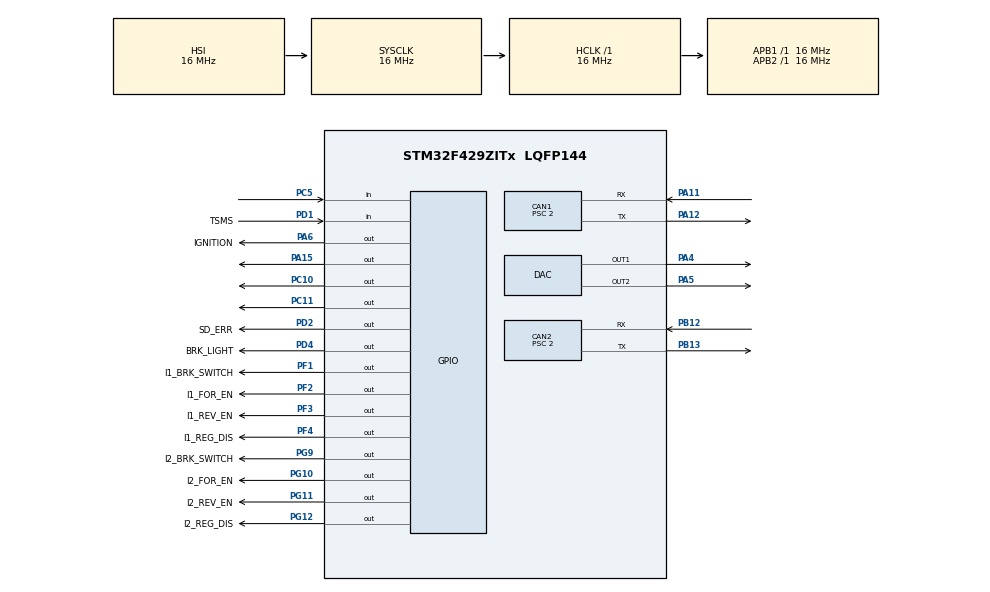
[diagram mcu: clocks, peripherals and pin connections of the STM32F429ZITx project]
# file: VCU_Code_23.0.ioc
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CAN1.BS1=CAN_BS1_11TQ
CAN1.BS2=CAN_BS2_4TQ
CAN1.CalculateBaudRate=500000
CAN1.CalculateTimeBit=2000
CAN1.CalculateTimeQuantum=125.0
CAN1.NART=ENABLE
CAN1.Prescaler=2
CAN2.BS1=CAN_BS1_11TQ
CAN2.BS2=CAN_BS2_4TQ
CAN2.CalculateBaudRate=500000
CAN2.CalculateTimeBit=2000
CAN2.CalculateTimeQuantum=125.0
CAN2.NART=ENABLE
CAN2.Prescaler=2
Mcu.Family=STM32F4
Mcu.Name=STM32F429ZITx
Mcu.Package=LQFP144
NVIC.CAN1_RX0_IRQn=true\:0\:0\:false\:false\:true\:true\:true\:true
NVIC.CAN1_RX1_IRQn=true\:0\:0\:false\:false\:true\:true\:true\:true
NVIC.CAN2_RX0_IRQn=true\:0\:0\:false\:false\:true\:true\:true\:true
NVIC.CAN2_RX1_IRQn=true\:0\:0\:false\:false\:true\:true\:true\:true
NVIC.PriorityGroup=NVIC_PRIORITYGROUP_4
PA11.Mode=CAN_Activate
PA11.Signal=CAN1_RX
PA12.Mode=CAN_Activate
PA12.Signal=CAN1_TX
PA15.Signal=GPIO_Output
PA4.Signal=COMP_DAC1_group
PA5.Signal=COMP_DAC2_group
PA6.GPIO_Label=IGNITION
PA6.Signal=GPIO_Output
PB12.Mode=CAN_Activate
PB12.Signal=CAN2_RX
PB13.Mode=CAN_Activate
PB13.Signal=CAN2_TX
PC10.Signal=GPIO_Output
PC11.Signal=GPIO_Output
PC5.Signal=GPIO_Input
PD1.GPIO_Label=TSMS
PD1.GPIO_PuPd=GPIO_PULLDOWN
PD1.Signal=GPIO_Input
PD2.GPIO_Label=SD_ERR
PD2.Signal=GPIO_Output
PD4.GPIO_Label=BRK_LIGHT
PD4.Signal=GPIO_Output
PF1.GPIO_Label=I1_BRK_SWITCH
PF1.Signal=GPIO_Output
PF2.GPIO_Label=I1_FOR_EN
PF2.Signal=GPIO_Output
PF3.GPIO_Label=I1_REV_EN
PF3.Signal=GPIO_Output
PF4.GPIO_Label=I1_REG_DIS
PF4.Signal=GPIO_Output
PG10.GPIO_Label=I2_FOR_EN
PG10.Signal=GPIO_Output
PG11.GPIO_Label=I2_REV_EN
PG11.Signal=GPIO_Output
PG12.GPIO_Label=I2_REG_DIS
PG12.Signal=GPIO_Output
PG9.GPIO_Label=I2_BRK_SWITCH
PG9.Signal=GPIO_Output
ProjectManager.HeapSize=0x200
ProjectManager.StackSize=0x400
ProjectManager.TargetToolchain=STM32CubeIDE
RCC.AHBFreq_Value=16000000
RCC.APB1Freq_Value=16000000
RCC.APB2Freq_Value=16000000
RCC.CortexFreq_Value=16000000
RCC.HSE_VALUE=25000000
RCC.HSI_VALUE=16000000
RCC.LSE_VALUE=32768
RCC.SYSCLKFreq_VALUE=16000000
RCC.VCOOutputFreq_Value=192000000
SH.COMP_DAC1_group.0=DAC_OUT1,DAC_OUT1
SH.COMP_DAC2_group.0=DAC_OUT2,DAC_OUT2
board=custom

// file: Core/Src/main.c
/* USER CODE BEGIN Header */
/**
  ******************************************************************************
  * @file           : main.c
  * @brief          : Main program body
  ******************************************************************************
  * @attention
  *
  * Copyright (c) 2023 STMicroelectronics.
  * All rights reserved.
  *
  * This software is licensed under terms that can be found in the LICENSE file
  * in the root directory of this software component.
  * If no LICENSE file comes with this software, it is provided AS-IS.
  *
  ******************************************************************************
  */
/* USER CODE END Header */
#include "main.h"

CAN_HandleTypeDef hcan1;
CAN_HandleTypeDef hcan2;

DAC_HandleTypeDef hdac;

void SystemClock_Config(void);
static void MX_GPIO_Init(void);
static void MX_CAN1_Init(void);
static void MX_CAN2_Init(void);
static void MX_DAC_Init(void);
/* USER CODE BEGIN PFP */
float map(uint16_t value, uint16_t min_val, uint16_t max_val, uint16_t offset);
void  CAN_Start();
/* USER CODE END PFP */

/* USER CODE BEGIN 0 */
uint16_t adc_apps1;
uint16_t adc_apps2;
float apps1,apps2,apps_avg,torque_demand;
uint16_t range_adc_apps1[] = {710, 2160};
uint16_t range_adc_apps2[] = {1405, 3870};
uint16_t brk_avg;
uint16_t adc_stear_sens;
uint8_t rtds;
uint8_t tsms;
uint8_t tc;
uint8_t tv;
uint16_t brk_light_thres=430;
uint8_t RxData[8];
uint16_t RxData1[4];
uint8_t RxData2[8];
uint32_t id;
uint8_t rxdata[8];
uint8_t clearfault_left=0,clearfault_right=0;
uint8_t left_inv_transmit[8];
uint8_t right_inv_transmit[8];
uint16_t torque_limit=30;
float temp_app;
uint8_t imp;
uint16_t a=0,b=0;
/* USER CODE END 0 */

int main(void)
{

  /* MCU Configuration--------------------------------------------------------*/

  /* Reset of all peripherals, Initializes the Flash interface and the Systick. */
+  HAL_Init();

  /* Configure the system clock */
  SystemClock_Config();

  /* Initialize all configured peripherals */
  MX_GPIO_Init();
  MX_CAN1_Init();
  MX_CAN2_Init();
  MX_DAC_Init();
  /* USER CODE BEGIN 2 */
  HAL_GPIO_WritePin(GPIOA, IGNITION_Pin,GPIO_PIN_SET);
  HAL_GPIO_WritePin(GPIOD, SD_ERR_Pin,GPIO_PIN_SET);
  //HAL_GPIO_WritePin(GPIOD, BRK_LIGHT_Pin, GPIO_PIN_SET);
  CAN_Start();
  //HAL_GPIO_TogglePin(GPIOC, GPIO_PIN_11);

  /* USER CODE END 2 */

  /* Infinite loop */
  while (1)
  {

    /* USER CODE BEGIN 3 */
//	  apps1=(((float)(adc_apps1 - range_adc_apps1[0])) / ((float)(range_adc_apps1[1]- range_adc_apps1[0])))*100.00;
//	  apps2=(((float)(adc_apps2 - range_adc_apps2[0])) / ((float)(range_adc_apps2[1]- range_adc_apps2[0])))*100.00;
////	  apps1 = map(adc_apps1, range_adc_apps1[0], range_adc_apps1[1],0);
////	  apps2 = map(adc_apps2, range_adc_apps2[0], range_adc_apps2[1],0);
//	  apps_avg=(apps1+apps2)/2;  // goes from 0 to 100
//	  torque_demand=(apps_avg/100)*torque_limit;
//	  a++;

//	  if(HAL_GPIO_ReadPin(TSMS_GPIO_Port, TSMS_Pin)==GPIO_PIN_SET){
//	  		tsms=1;
//	  	}else{
//	  		tsms=0;
//	  }

//	  if(tsms==0){
//	  		rtds=0;
//	  		clearfault_left=0;
//	  		clearfault_right=0;
//	  }

	  if(brk_avg>brk_light_thres){
		  HAL_GPIO_WritePin(GPIOD, BRK_LIGHT_Pin, GPIO_PIN_SET);
	  }else{
		  HAL_GPIO_WritePin(GPIOD, BRK_LIGHT_Pin, GPIO_PIN_RESET);
	  }
	  HAL_GPIO_WritePin(GPIOF, I1_FOR_EN_Pin,GPIO_PIN_SET);
	  HAL_GPIO_WritePin(GPIOF, I1_BRK_SWITCH_Pin,GPIO_PIN_SET);
	  HAL_GPIO_WritePin(GPIOG, I2_REV_EN_Pin,GPIO_PIN_SET);
	  HAL_GPIO_WritePin(GPIOG, I2_BRK_SWITCH_Pin,GPIO_PIN_SET);
	  a++;
	  //HAL_GPIO_WritePin(GPIOF, I2_REV_EN_Pin,GPIO_PIN_SET);
  }
  /* USER CODE END 3 */
}

void SystemClock_Config(void)
{
  RCC_OscInitTypeDef RCC_OscInitStruct = {0};
  RCC_ClkInitTypeDef RCC_ClkInitStruct = {0};

  /** Configure the main internal regulator output voltage
  */
  __HAL_RCC_PWR_CLK_ENABLE();
  __HAL_PWR_VOLTAGESCALING_CONFIG(PWR_REGULATOR_VOLTAGE_SCALE3);

  /** Initializes the RCC Oscillators according to the specified parameters
  * in the RCC_OscInitTypeDef structure.
  */
  RCC_OscInitStruct.OscillatorType = RCC_OSCILLATORTYPE_HSI;
  RCC_OscInitStruct.HSIState = RCC_HSI_ON;
  RCC_OscInitStruct.HSICalibrationValue = RCC_HSICALIBRATION_DEFAULT;
  RCC_OscInitStruct.PLL.PLLState = RCC_PLL_NONE;
  if (HAL_RCC_OscConfig(&RCC_OscInitStruct) != HAL_OK)
  {
    Error_Handler();
  }

  /** Initializes the CPU, AHB and APB buses clocks
  */
  RCC_ClkInitStruct.ClockType = RCC_CLOCKTYPE_HCLK|RCC_CLOCKTYPE_SYSCLK
                              |RCC_CLOCKTYPE_PCLK1|RCC_CLOCKTYPE_PCLK2;
  RCC_ClkInitStruct.SYSCLKSource = RCC_SYSCLKSOURCE_HSI;
  RCC_ClkInitStruct.AHBCLKDivider = RCC_SYSCLK_DIV1;
  RCC_ClkInitStruct.APB1CLKDivider = RCC_HCLK_DIV1;
  RCC_ClkInitStruct.APB2CLKDivider = RCC_HCLK_DIV1;

  if (HAL_RCC_ClockConfig(&RCC_ClkInitStruct, FLASH_LATENCY_0) != HAL_OK)
  {
    Error_Handler();
  }
}

static void MX_CAN1_Init(void)
{

  hcan1.Instance = CAN1;
  hcan1.Init.Prescaler = 2;
  hcan1.Init.Mode = CAN_MODE_NORMAL;
  hcan1.Init.SyncJumpWidth = CAN_SJW_1TQ;
  hcan1.Init.TimeSeg1 = CAN_BS1_11TQ;
  hcan1.Init.TimeSeg2 = CAN_BS2_4TQ;
  hcan1.Init.TimeTriggeredMode = DISABLE;
  hcan1.Init.AutoBusOff = DISABLE;
  hcan1.Init.AutoWakeUp = DISABLE;
  hcan1.Init.AutoRetransmission = ENABLE;
  hcan1.Init.ReceiveFifoLocked = DISABLE;
  hcan1.Init.TransmitFifoPriority = DISABLE;
  if (HAL_CAN_Init(&hcan1) != HAL_OK)
  {
    Error_Handler();
  }

}

static void MX_CAN2_Init(void)
{

  hcan2.Instance = CAN2;
  hcan2.Init.Prescaler = 2;
  hcan2.Init.Mode = CAN_MODE_NORMAL;
  hcan2.Init.SyncJumpWidth = CAN_SJW_1TQ;
  hcan2.Init.TimeSeg1 = CAN_BS1_11TQ;
  hcan2.Init.TimeSeg2 = CAN_BS2_4TQ;
  hcan2.Init.TimeTriggeredMode = DISABLE;
  hcan2.Init.AutoBusOff = DISABLE;
  hcan2.Init.AutoWakeUp = DISABLE;
  hcan2.Init.AutoRetransmission = ENABLE;
  hcan2.Init.ReceiveFifoLocked = DISABLE;
  hcan2.Init.TransmitFifoPriority = DISABLE;
  if (HAL_CAN_Init(&hcan2) != HAL_OK)
  {
    Error_Handler();
  }

}

static void MX_DAC_Init(void)
{

  DAC_ChannelConfTypeDef sConfig = {0};

  /** DAC Initialization
  */
  hdac.Instance = DAC;
  if (HAL_DAC_Init(&hdac) != HAL_OK)
  {
    Error_Handler();
  }

  /** DAC channel OUT1 config
  */
  sConfig.DAC_Trigger = DAC_TRIGGER_NONE;
  sConfig.DAC_OutputBuffer = DAC_OUTPUTBUFFER_ENABLE;
  if (HAL_DAC_ConfigChannel(&hdac, &sConfig, DAC_CHANNEL_1) != HAL_OK)
  {
    Error_Handler();
  }

  /** DAC channel OUT2 config
  */
  if (HAL_DAC_ConfigChannel(&hdac, &sConfig, DAC_CHANNEL_2) != HAL_OK)
  {
    Error_Handler();
  }

}

static void MX_GPIO_Init(void)
{
  GPIO_InitTypeDef GPIO_InitStruct = {0};

  /* GPIO Ports Clock Enable */
  __HAL_RCC_GPIOF_CLK_ENABLE();
  __HAL_RCC_GPIOA_CLK_ENABLE();
  __HAL_RCC_GPIOC_CLK_ENABLE();
  __HAL_RCC_GPIOB_CLK_ENABLE();
  __HAL_RCC_GPIOD_CLK_ENABLE();
  __HAL_RCC_GPIOG_CLK_ENABLE();

  /*Configure GPIO pin Output Level */
  HAL_GPIO_WritePin(GPIOF, I1_BRK_SWITCH_Pin|I1_FOR_EN_Pin|I1_REV_EN_Pin|I1_REG_DIS_Pin, GPIO_PIN_RESET);

  /*Configure GPIO pin Output Level */
  HAL_GPIO_WritePin(GPIOA, IGNITION_Pin|GPIO_PIN_15, GPIO_PIN_RESET);

  /*Configure GPIO pin Output Level */
  HAL_GPIO_WritePin(GPIOC, GPIO_PIN_10|GPIO_PIN_11, GPIO_PIN_RESET);

  /*Configure GPIO pin Output Level */
  HAL_GPIO_WritePin(GPIOD, SD_ERR_Pin|BRK_LIGHT_Pin, GPIO_PIN_RESET);

  /*Configure GPIO pin Output Level */
  HAL_GPIO_WritePin(GPIOG, I2_BRK_SWITCH_Pin|I2_FOR_EN_Pin|I2_REV_EN_Pin|I2_REG_DIS_Pin, GPIO_PIN_RESET);

  /*Configure GPIO pins : I1_BRK_SWITCH_Pin I1_FOR_EN_Pin I1_REV_EN_Pin I1_REG_DIS_Pin */
  GPIO_InitStruct.Pin = I1_BRK_SWITCH_Pin|I1_FOR_EN_Pin|I1_REV_EN_Pin|I1_REG_DIS_Pin;
  GPIO_InitStruct.Mode = GPIO_MODE_OUTPUT_PP;
  GPIO_InitStruct.Pull = GPIO_NOPULL;
  GPIO_InitStruct.Speed = GPIO_SPEED_FREQ_LOW;
  HAL_GPIO_Init(GPIOF, &GPIO_InitStruct);

  /*Configure GPIO pins : IGNITION_Pin PA15 */
  GPIO_InitStruct.Pin = IGNITION_Pin|GPIO_PIN_15;
  GPIO_InitStruct.Mode = GPIO_MODE_OUTPUT_PP;
  GPIO_InitStruct.Pull = GPIO_NOPULL;
  GPIO_InitStruct.Speed = GPIO_SPEED_FREQ_LOW;
  HAL_GPIO_Init(GPIOA, &GPIO_InitStruct);

  /*Configure GPIO pin : PC5 */
  GPIO_InitStruct.Pin = GPIO_PIN_5;
  GPIO_InitStruct.Mode = GPIO_MODE_INPUT;
  GPIO_InitStruct.Pull = GPIO_NOPULL;
  HAL_GPIO_Init(GPIOC, &GPIO_InitStruct);

  /*Configure GPIO pins : PC10 PC11 */
  GPIO_InitStruct.Pin = GPIO_PIN_10|GPIO_PIN_11;
  GPIO_InitStruct.Mode = GPIO_MODE_OUTPUT_PP;
  GPIO_InitStruct.Pull = GPIO_NOPULL;
  GPIO_InitStruct.Speed = GPIO_SPEED_FREQ_LOW;
  HAL_GPIO_Init(GPIOC, &GPIO_InitStruct);

  /*Configure GPIO pin : TSMS_Pin */
  GPIO_InitStruct.Pin = TSMS_Pin;
  GPIO_InitStruct.Mode = GPIO_MODE_INPUT;
  GPIO_InitStruct.Pull = GPIO_PULLDOWN;
  HAL_GPIO_Init(TSMS_GPIO_Port, &GPIO_InitStruct);

  /*Configure GPIO pins : SD_ERR_Pin BRK_LIGHT_Pin */
  GPIO_InitStruct.Pin = SD_ERR_Pin|BRK_LIGHT_Pin;
  GPIO_InitStruct.Mode = GPIO_MODE_OUTPUT_PP;
  GPIO_InitStruct.Pull = GPIO_NOPULL;
  GPIO_InitStruct.Speed = GPIO_SPEED_FREQ_LOW;
  HAL_GPIO_Init(GPIOD, &GPIO_InitStruct);

  /*Configure GPIO pins : I2_BRK_SWITCH_Pin I2_FOR_EN_Pin I2_REV_EN_Pin I2_REG_DIS_Pin */
  GPIO_InitStruct.Pin = I2_BRK_SWITCH_Pin|I2_FOR_EN_Pin|I2_REV_EN_Pin|I2_REG_DIS_Pin;
  GPIO_InitStruct.Mode = GPIO_MODE_OUTPUT_PP;
  GPIO_InitStruct.Pull = GPIO_NOPULL;
  GPIO_InitStruct.Speed = GPIO_SPEED_FREQ_LOW;
  HAL_GPIO_Init(GPIOG, &GPIO_InitStruct);

}

/* USER CODE BEGIN 4 */
void CAN_Start(){

	CAN_FilterTypeDef filter1, filter2;

	filter1.FilterBank = 0;

	filter1.FilterActivation = ENABLE;
	filter1.FilterFIFOAssignment = CAN_FILTER_FIFO0;

	filter1.FilterScale = CAN_FILTERSCALE_32BIT;
	filter1.FilterMode = CAN_FILTERMODE_IDMASK;

	filter1.FilterMaskIdHigh = 0x0000;
	filter1.FilterMaskIdLow  = 0x0000;

	filter1.FilterIdLow  = 0x0000;
	filter1.FilterIdHigh = 0x0000;

	filter1.SlaveStartFilterBank = 14;

	filter2.FilterBank = 15;

	filter2.FilterActivation = ENABLE;
	filter2.FilterFIFOAssignment = CAN_FILTER_FIFO1;

	filter2.FilterScale = CAN_FILTERSCALE_32BIT;
	filter2.FilterMode = CAN_FILTERMODE_IDMASK;

	filter2.FilterMaskIdHigh = 0x0000;
	filter2.FilterMaskIdLow  = 0x0000;

	filter2.FilterIdLow  = 0x0000;
	filter2.FilterIdHigh = 0x0000;

	filter2.SlaveStartFilterBank = 14;

	if (HAL_CAN_ConfigFilter(&hcan1, &filter1) != HAL_OK) { // Configuring CAN line according to Filter values
		Error_Handler();
	}
	if (HAL_CAN_ConfigFilter(&hcan2, &filter2)!= HAL_OK){
		Error_Handler();
	}

	if (HAL_CAN_Start(&hcan1) != HAL_OK) { // CAN start
		Error_Handler();
	}

	if(HAL_CAN_Start(&hcan2) != HAL_OK){
		Error_Handler();
	}

	if(HAL_CAN_ActivateNotification(&hcan1, CAN_IT_RX_FIFO0_MSG_PENDING | CAN_IT_RX_FIFO0_FULL | CAN_IT_RX_FIFO0_OVERRUN) != HAL_OK){ // Interrupt activation
		Error_Handler();
	}

	if(HAL_CAN_ActivateNotification(&hcan2, CAN_IT_RX_FIFO1_MSG_PENDING | CAN_IT_RX_FIFO1_FULL | CAN_IT_RX_FIFO1_OVERRUN ) != HAL_OK){ // Interrupt activation
			Error_Handler();
		}
}

void CAN_Tx(CAN_HandleTypeDef* hcan, uint32_t id, uint8_t* data_tx){
	    CAN_TxHeaderTypeDef TxHeader;
		uint32_t Txmailbox = 0x00U;
	    TxHeader.DLC=8;
	    TxHeader.StdId=id; // 11 bits
	    TxHeader.IDE=CAN_ID_STD;
	    TxHeader.RTR=CAN_RTR_DATA;

	    if(HAL_CAN_GetTxMailboxesFreeLevel(hcan)>0) {
	    	if (HAL_CAN_AddTxMessage(hcan, &TxHeader, data_tx, &Txmailbox)!= HAL_OK)
	    		Error_Handler();
	    }
}
void HAL_CAN_RxFifo0MsgPendingCallback(CAN_HandleTypeDef *hcan){
	CAN_RxHeaderTypeDef RxHeader;
	HAL_CAN_GetRxMessage(&hcan1, CAN_RX_FIFO0, &RxHeader,RxData2);
		if(RxHeader.StdId==0x2){
			adc_apps1=((uint16_t)RxData2[1]<<8)|RxData2[0];
			adc_apps2=((uint16_t)RxData2[3]<<8)|RxData2[2];;
			brk_avg=((uint16_t)RxData2[5]<<8)|RxData2[4];
			adc_stear_sens=((uint16_t)RxData2[7]<<8)|RxData2[6];
			if(brk_avg>brk_light_thres){
					  HAL_GPIO_WritePin(GPIOD, BRK_LIGHT_Pin, GPIO_PIN_SET);
				  }else{
					  HAL_GPIO_WritePin(GPIOD, BRK_LIGHT_Pin, GPIO_PIN_RESET);
				  }
//			if(tsms==1&&rtds==0){
//				left_inv_transmit[0]=0;
//				left_inv_transmit[1]=0;
//				left_inv_transmit[2]=0;
//				left_inv_transmit[3]=0;
//				left_inv_transmit[4]=1;
//				left_inv_transmit[5]=0;
//				left_inv_transmit[6]=((torque_limit)*10)%256;
//				left_inv_transmit[7]=((torque_limit)*10)/256;
//
//				right_inv_transmit[0]=0;
//				right_inv_transmit[1]=0;
//				right_inv_transmit[2]=0;
//				right_inv_transmit[3]=0;
//				right_inv_transmit[4]=0;
//				right_inv_transmit[5]=0;
//				right_inv_transmit[6]=((torque_limit)*10)%256;
//				right_inv_transmit[7]=((torque_limit)*10)/256;
//
//				CAN_Tx(&hcan1,0x0C0,right_inv_transmit);
//				CAN_Tx(&hcan1,0x0F0,left_inv_transmit);
//
//			}else if(tsms==1&&rtds==1){
//				left_inv_transmit[0]=(int)((torque_demand)*10)%256;
//				left_inv_transmit[1]=(int)((torque_demand)*10)/256;;
//				left_inv_transmit[2]=0;
//				left_inv_transmit[3]=0;
//				left_inv_transmit[4]=1;
//				left_inv_transmit[5]=1;
//				left_inv_transmit[6]=((torque_limit)*10)%256;
//				left_inv_transmit[7]=((torque_limit)*10)%256;
//
//				right_inv_transmit[0]=(int)((torque_demand)*10)%256;;
//				right_inv_transmit[1]=(int)((torque_demand)*10)/256;;
//				right_inv_transmit[2]=0;
//				right_inv_transmit[3]=0;
//				right_inv_transmit[4]=0;
//				right_inv_transmit[5]=1;
//				right_inv_transmit[6]=((torque_limit)*10)%256;
//				right_inv_transmit[7]=((torque_limit)*10)%256;
//
//				CAN_Tx(&hcan1,0x0C0,right_inv_transmit);
//				CAN_Tx(&hcan1,0x0F0,left_inv_transmit);
//
//				}
			HAL_GPIO_TogglePin(GPIOC, GPIO_PIN_11);
		}
//		//HAL_CAN_GetRxMessage(&hcan1, CAN_RX_FIFO0, &RxHeader,RxData1);
//		if(RxHeader.StdId==0x1){
//			tsms=RxData2[2];
//			rtds=RxData2[3];
//			tc=RxData2[4];
//			tv=RxData2[5];
//			imp=RxData2[1];
//			HAL_GPIO_TogglePin(GPIOA, GPIO_PIN_15);
//		}
//		if(RxHeader.StdId==0x0C1){
//			if(RxData2[4]==0){
//				clearfault_left=1;
//				HAL_GPIO_TogglePin(GPIOC, GPIO_PIN_10);
//			}
//		}
//		if(RxHeader.StdId==0x0F1){
//			if(RxData2[4]==0){
//				clearfault_right=1;
//			}
//		}
//		if(RxHeader.StdId==0x0C0){
//			rxdata[0]=RxData1[0];
//			rxdata[1]=RxData1[1];
//			rxdata[2]=RxData1[2];
//			rxdata[3]=RxData1[3];
//			rxdata[4]=RxData1[4];
//			rxdata[5]=RxData1[5];
//			rxdata[6]=RxData1[6];
//			rxdata[7]=RxData1[7];
//
//		}

}
float map(uint16_t value, uint16_t min_val, uint16_t max_val, uint16_t offset){
	 temp_app = (((float)(value - min_val)) / ((float)(max_val- min_val)))*100.00;
		if (temp_app < 0.00){
			return 0.00;
		}
		else if (temp_app > 100.00){
			return 100.00;
		}
		else {
			return temp_app;
		}
}
/* USER CODE END 4 */

void Error_Handler(void)
{
  __disable_irq();
  while (1)
  {
  }
}
